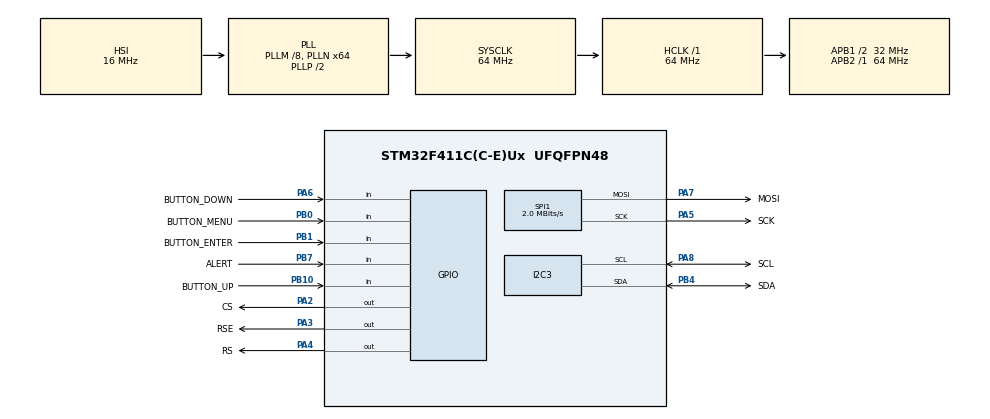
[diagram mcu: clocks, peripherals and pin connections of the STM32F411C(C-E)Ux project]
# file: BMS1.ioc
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Mcu.Family=STM32F4
Mcu.Name=STM32F411C(C-E)Ux
Mcu.Package=UFQFPN48
NVIC.PriorityGroup=NVIC_PRIORITYGROUP_4
PA13.Mode=Serial_Wire
PA13.Signal=SYS_JTMS-SWDIO
PA14.Mode=Serial_Wire
PA14.Signal=SYS_JTCK-SWCLK
PA2.GPIO_Label=CS
PA2.GPIO_Speed=GPIO_SPEED_FREQ_VERY_HIGH
PA2.PinState=GPIO_PIN_SET
PA2.Signal=GPIO_Output
PA3.GPIO_Label=RSE
PA3.GPIO_Speed=GPIO_SPEED_FREQ_VERY_HIGH
PA3.PinState=GPIO_PIN_SET
PA3.Signal=GPIO_Output
PA4.GPIO_Label=RS
PA4.GPIO_Speed=GPIO_SPEED_FREQ_VERY_HIGH
PA4.PinState=GPIO_PIN_SET
PA4.Signal=GPIO_Output
PA5.GPIO_Label=SCK
PA5.Mode=TX_Only_Simplex_Unidirect_Master
PA5.Signal=SPI1_SCK
PA6.GPIO_Label=BUTTON_DOWN
PA6.GPIO_PuPd=GPIO_PULLUP
PA6.Signal=GPIO_Input
PA7.GPIO_Label=MOSI
PA7.Mode=TX_Only_Simplex_Unidirect_Master
PA7.Signal=SPI1_MOSI
PA8.GPIO_Label=SCL
PA8.Mode=I2C
PA8.Signal=I2C3_SCL
PB0.GPIO_Label=BUTTON_MENU
PB0.GPIO_PuPd=GPIO_PULLUP
PB0.Signal=GPIO_Input
PB1.GPIO_Label=BUTTON_ENTER
PB1.GPIO_PuPd=GPIO_PULLUP
PB1.Signal=GPIO_Input
PB10.GPIO_Label=BUTTON_UP
PB10.GPIO_PuPd=GPIO_PULLUP
PB10.Signal=GPIO_Input
PB4.GPIO_Label=SDA
PB4.Mode=I2C
PB4.Signal=I2C3_SDA
PB7.GPIO_Label=ALERT
PB7.Signal=GPIO_Input
PH0\ -\ OSC_IN.Mode=HSE-External-Oscillator
PH0\ -\ OSC_IN.Signal=RCC_OSC_IN
PH1\ -\ OSC_OUT.Mode=HSE-External-Oscillator
PH1\ -\ OSC_OUT.Signal=RCC_OSC_OUT
ProjectManager.HeapSize=0x800
ProjectManager.StackSize=0x800
ProjectManager.TargetToolchain=STM32CubeIDE
RCC.48MHZClocksFreq_Value=32000000
RCC.AHBFreq_Value=64000000
RCC.APB1CLKDivider=RCC_HCLK_DIV2
RCC.APB1Freq_Value=32000000
RCC.APB1TimFreq_Value=64000000
RCC.APB2Freq_Value=64000000
RCC.APB2TimFreq_Value=64000000
RCC.CortexFreq_Value=64000000
RCC.HCLKFreq_Value=64000000
RCC.HSE_VALUE=25000000
RCC.HSI_VALUE=16000000
RCC.LSE_VALUE=32768
RCC.PLLM=8
RCC.PLLN=64
RCC.SYSCLKFreq_VALUE=64000000
RCC.SYSCLKSource=RCC_SYSCLKSOURCE_PLLCLK
RCC.VCOOutputFreq_Value=128000000
SPI1.BaudRatePrescaler=SPI_BAUDRATEPRESCALER_32
SPI1.CLKPhase=SPI_PHASE_2EDGE
SPI1.CLKPolarity=SPI_POLARITY_HIGH
SPI1.CalculateBaudRate=2.0 MBits/s
SPI1.Direction=SPI_DIRECTION_2LINES
SPI1.Mode=SPI_MODE_MASTER
SPI1.VirtualType=VM_MASTER
board=custom

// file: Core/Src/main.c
/* USER CODE BEGIN Header */
/**
 * @file           : main.c
 * @brief          : STM32F411CEU6 communicating with BQ76922 BMS
 * SCREENS
 * LIVE = Voltages, SOC, Current (Dedicated Line), PassQ, Balancing
 * LIVE2 = Pack, LD, Stack voltage, Current, FET state
 * TEMP = PCB temperature + BATTS thermistor
 * FAULTS = Safety flags, UV/OV/OCD/SCD, Alarm word
 * CONTROL = FET enable/off, Shutdown, Reset PassQ, Clear PF
 */

/* USER CODE END Header */
// Includes
#include "main.h"

// Private includes
/* USER CODE BEGIN Includes */
#include <stdbool.h>
#include <stddef.h>
#include <stdio.h>
#include <string.h>
#include "GraphicDisplay.h"
#include "GraphicDisplay_Fonts.h"
#include "bq76922_driver.h"
#include "bms_rtos.h"
#include "FreeRTOS.h"
#include "task.h"
/* USER CODE END Includes */

// Private typedef

// Private define

I2C_HandleTypeDef hi2c3;

SPI_HandleTypeDef hspi1;

/* USER CODE BEGIN PV */
st7565_t    St7565  = {0};
static uint8_t display_framebuffer[128U * 64U / 8U];
static bool display_ok = true;
gd_t        Graphic = {0};

/* UI-owned copies; the battery task owns the actual driver/counter. */
static BmsSnapshot UiSnapshot;
static bool snapshot_received;
static const char *ui_data_message = "WAITING FOR DATA";
static bool command_pending;
static uint32_t pending_id, next_command_id;

static uint8_t bq_ok;

// Screen & Popup definitions
typedef enum {
    SCR_LIVE = 0,
    SCR_PACK,
    SCR_TEMP,
    SCR_FAULTS,
    SCR_CONTROL,
    SCR_COUNT
} Screen_t;

static const char *scr_titles[SCR_COUNT] = {
    "LIVE", "LIVE2", "TEMP", "FAULTS", "CONTROL"
};

static Screen_t  cur_screen   = SCR_LIVE;
static uint8_t   needs_redraw = 1;

static bool      show_charge_msg = false;
static uint32_t  charge_msg_start_tick = 0;
static bool      is_charging = false;

static const char *ctrl_labels[BMS_ACTION_COUNT] = {
    "FET Enable", "All FETs Off", "Shutdown", "Reset PassQ",
    "PF Reset", "OCD Recover", "SCD Recover",
};

static int8_t  ctrl_cursor = 0;
static char    status_msg[22] = "";
/* USER CODE END PV */

void SystemClock_Config(void);
static void MX_GPIO_Init(void);
static void MX_SPI1_Init(void);
static void MX_I2C3_Init(void);

/* USER CODE BEGIN 0 */

void delayUS(uint32_t us)
{
    uint32_t start = DWT->CYCCNT;
    uint32_t ticks = us * (SystemCoreClock / 1000000U);
    while ((DWT->CYCCNT - start) < ticks) {}
}

void    _dsp_a0   (uint8_t s){ HAL_GPIO_WritePin(RS_GPIO_Port, RS_Pin,  (GPIO_PinState)s); }
void    _dsp_cs   (uint8_t s){ HAL_GPIO_WritePin(CS_GPIO_Port, CS_Pin,  (GPIO_PinState)s); }
void    _dsp_reset(uint8_t s){ HAL_GPIO_WritePin(GPIOA,        RSE_Pin, (GPIO_PinState)s); }
uint8_t _dsp_write(uint8_t *d, uint32_t l){ return (uint8_t)HAL_SPI_Transmit(&hspi1, d, (uint16_t)l, 100); }

static uint8_t btn_menu_last  = 1;
static uint8_t btn_enter_last = 1;
static uint8_t btn_up_last    = 1;
static uint8_t btn_down_last  = 1;

static uint8_t Btn(GPIO_TypeDef *port, uint16_t pin, uint8_t *last)
{
    uint8_t now  = (HAL_GPIO_ReadPin(port, pin) == GPIO_PIN_RESET) ? 0u : 1u;
    uint8_t edge = (*last == 1u) && (now == 0u);
    *last = now;
    return edge;
}

/*
 * DRAW FUNCTIONS
*/
static void RefreshDisplay(void)
{
    display_ok = (GD_UpdateScreen(&Graphic) == GD_OK);
    if (!display_ok) ++BmsRtosStats.display_failures;
}

static void Title(const char *text)
{
    GD_FillRectangle(&Graphic, 0, 0, 127, 11, GD_WHITE);
    GD_SetCursor(&Graphic, 2, 2);
    GD_WriteString(&Graphic, (char *)text, Font_7x10, GD_BLACK);
    char idx[8];
    snprintf(idx, sizeof(idx), "%d/%d", (int)cur_screen + 1, SCR_COUNT);
    GD_SetCursor(&Graphic, 100, 2);
    GD_WriteString(&Graphic, idx, Font_7x10, GD_BLACK);
}

/* ── SCR_LIVE ── */
static void Draw_Live(void)
{
    char buf[32];
    GD_Fill(&Graphic, GD_BLACK);
    Title(scr_titles[SCR_LIVE]);

    if (!bq_ok) {
        GD_SetCursor(&Graphic, 10, 28);
        GD_WriteString(&Graphic, (char *)ui_data_message, Font_7x10, GD_WHITE);
        RefreshDisplay();
        return;
    }

    uint16_t c1 = UiSnapshot.telemetry.cell_mv[0];
    uint16_t c2 = UiSnapshot.telemetry.cell_mv[1];
    uint16_t c5 = UiSnapshot.telemetry.cell_mv[2];
    int16_t  ma = UiSnapshot.telemetry.pack_current_ma;

    /* Line 1: C1 and C2 */
    snprintf(buf, sizeof(buf), "1:%d.%03dV 2:%d.%03dV",
             c1 / 1000, c1 % 1000,
             c2 / 1000, c2 % 1000);
    GD_SetCursor(&Graphic, 0, 14);
    GD_WriteString(&Graphic, buf, Font_7x10, GD_WHITE);

    /* Line 2: C5 and High-Res Fractional SOC */
    snprintf(buf, sizeof(buf), "5:%d.%03dV S:%d.%01d%%",
             c5 / 1000, c5 % 1000,
             (int)UiSnapshot.soc_percent,
             (int)(UiSnapshot.soc_percent * 10.0f) % 10);
    GD_SetCursor(&Graphic, 0, 24);
    GD_WriteString(&Graphic, buf, Font_7x10, GD_WHITE);

    /* Line 3: Dedicated Current Line */
    snprintf(buf, sizeof(buf), "I : %dmA", ma);
    GD_SetCursor(&Graphic, 0, 34);
    GD_WriteString(&Graphic, buf, Font_7x10, GD_WHITE);

    /* Line 4: High-Res Coulomb Counter in exact mAh */
    snprintf(buf, sizeof(buf), "Q: %d.%01dmAh",
             (int)UiSnapshot.remaining_mah,
             (int)(UiSnapshot.remaining_mah * 10.0f) % 10);
    GD_SetCursor(&Graphic, 0, 44);
    GD_WriteString(&Graphic, buf, Font_7x10, GD_WHITE);

    /* Line 5: Active Balancing */
    char bal_str[22];
    if (!UiSnapshot.balancing_valid) {
        snprintf(bal_str, sizeof(bal_str), "BAL: pending");
    } else snprintf(bal_str, sizeof(bal_str), "BAL:1:%d 2:%d 5:%d",
             (UiSnapshot.telemetry.cb_active_mask & (1 << 0)) ? 1 : 0,
             (UiSnapshot.telemetry.cb_active_mask & (1 << 1)) ? 1 : 0,
             (UiSnapshot.telemetry.cb_active_mask & (1 << 4)) ? 1 : 0);
    GD_SetCursor(&Graphic, 0, 54);
    GD_WriteString(&Graphic, bal_str, Font_7x10, GD_WHITE);

    RefreshDisplay();
}

/* ── SCR_PACK (LIVE2) ── */
static void Draw_Pack(void)
{
    char buf[22];
    GD_Fill(&Graphic, GD_BLACK);
    Title(scr_titles[SCR_PACK]);

    if (!bq_ok) {
        GD_SetCursor(&Graphic, 10, 28);
        GD_WriteString(&Graphic, (char *)ui_data_message, Font_7x10, GD_WHITE);
        RefreshDisplay();
        return;
    }

    snprintf(buf, sizeof(buf), "PACK: %d.%03dV",
             UiSnapshot.telemetry.pack_mv / 1000, UiSnapshot.telemetry.pack_mv % 1000);
    GD_SetCursor(&Graphic, 0, 14);
    GD_WriteString(&Graphic, buf, Font_7x10, GD_WHITE);

    snprintf(buf, sizeof(buf), "STK : %d.%03dV",
             UiSnapshot.telemetry.stack_mv / 1000, UiSnapshot.telemetry.stack_mv % 1000);
    GD_SetCursor(&Graphic, 0, 24);
    GD_WriteString(&Graphic, buf, Font_7x10, GD_WHITE);

    snprintf(buf, sizeof(buf), "LD  : %d.%03dV",
             UiSnapshot.telemetry.ld_mv / 1000, UiSnapshot.telemetry.ld_mv % 1000);
    GD_SetCursor(&Graphic, 0, 34);
    GD_WriteString(&Graphic, buf, Font_7x10, GD_WHITE);

    int16_t ma = UiSnapshot.telemetry.pack_current_ma;
    snprintf(buf, sizeof(buf), "I   : %dmA", ma);
    GD_SetCursor(&Graphic, 0, 44);
    GD_WriteString(&Graphic, buf, Font_7x10, GD_WHITE);

    snprintf(buf, sizeof(buf), "FET : C:%c  D:%c",
             UiSnapshot.faults.chg_on  ? 'O' : 'X',
             UiSnapshot.faults.dsg_on  ? 'O' : 'X');
    GD_SetCursor(&Graphic, 0, 54);
    GD_WriteString(&Graphic, buf, Font_7x10, GD_WHITE);

    RefreshDisplay();
}

/* ── SCR_TEMP ── */
static void Draw_Temp(void)
{
    char buf[22];
    GD_Fill(&Graphic, GD_BLACK);
    Title(scr_titles[SCR_TEMP]);

    if (!bq_ok) {
        GD_SetCursor(&Graphic, 10, 28);
        GD_WriteString(&Graphic, (char *)ui_data_message, Font_7x10, GD_WHITE);
        RefreshDisplay();
        return;
    }

    int16_t die = UiSnapshot.telemetry.int_temp_dc;
    int16_t ts1 = UiSnapshot.telemetry.ts1_temp_dc;

    snprintf(buf, sizeof(buf), "PCB  : %c%d.%01d C",
             die < 0 ? '-' : ' ',
             (int)(die < 0 ? -die : die) / 10,
             (int)(die < 0 ? -die : die) % 10);
    GD_SetCursor(&Graphic, 0, 20);
    GD_WriteString(&Graphic, buf, Font_7x10, GD_WHITE);

    snprintf(buf, sizeof(buf), "BATTS: %c%d.%01d C",
             ts1 < 0 ? '-' : ' ',
             (int)(ts1 < 0 ? -ts1 : ts1) / 10,
             (int)(ts1 < 0 ? -ts1 : ts1) % 10);
    GD_SetCursor(&Graphic, 0, 38);
    GD_WriteString(&Graphic, buf, Font_7x10, GD_WHITE);

    RefreshDisplay();
}

/* ── SCR_FAULTS ── */
static void Draw_Faults(void)
{
    char buf[22];
    GD_Fill(&Graphic, GD_BLACK);
    Title(scr_titles[SCR_FAULTS]);

    if (!bq_ok) {
        GD_SetCursor(&Graphic, 10, 28);
        GD_WriteString(&Graphic, (char *)ui_data_message, Font_7x10, GD_WHITE);
        RefreshDisplay();
        return;
    }

    snprintf(buf, sizeof(buf), "UV:%c OV:%c",
             UiSnapshot.faults.uv_fault  ? '!' : '-',
             UiSnapshot.faults.ov_fault  ? '!' : '-');
    GD_SetCursor(&Graphic, 0, 14);
    GD_WriteString(&Graphic, buf, Font_7x10, GD_WHITE);

    snprintf(buf, sizeof(buf), "OCD:%c SCD:%c",
             UiSnapshot.faults.ocd_fault ? '!' : '-',
             UiSnapshot.faults.scd_fault ? '!' : '-');
    GD_SetCursor(&Graphic, 0, 26);
    GD_WriteString(&Graphic, buf, Font_7x10, GD_WHITE);

    snprintf(buf, sizeof(buf), "PROT:%s",
             UiSnapshot.faults.protections_triggered ? "ACTIVE" : "OK");
    GD_SetCursor(&Graphic, 0, 38);
    GD_WriteString(&Graphic, buf, Font_7x10, GD_WHITE);

    snprintf(buf, sizeof(buf), "ALM:0x%04X", UiSnapshot.faults.alarm_status);
    GD_SetCursor(&Graphic, 0, 54);
    GD_WriteString(&Graphic, buf, Font_7x10, GD_WHITE);

    RefreshDisplay();
}

/* ── SCR_CONTROL ── */
static void Draw_Control(void)
{
    GD_Fill(&Graphic, GD_BLACK);
    Title(scr_titles[SCR_CONTROL]);

    int start = ctrl_cursor - 1;
    if (start < 0) start = 0;
    if (start > BMS_ACTION_COUNT - 3) start = BMS_ACTION_COUNT - 3;

    for (int i = 0; i < 3; i++) {
        int idx = start + i;
        if (idx >= BMS_ACTION_COUNT) break;
        int16_t y = (int16_t)(14 + i * 14);
        if (idx == ctrl_cursor) {
            GD_FillRectangle(&Graphic, 0, y - 1, 127, y + 11, GD_WHITE);
            GD_SetCursor(&Graphic, 4, y);
            GD_WriteString(&Graphic, (char *)ctrl_labels[idx], Font_7x10, GD_BLACK);
        } else {
            GD_SetCursor(&Graphic, 4, y);
            GD_WriteString(&Graphic, (char *)ctrl_labels[idx], Font_7x10, GD_WHITE);
        }
    }

    GD_SetCursor(&Graphic, 0, 54);
    GD_WriteString(&Graphic, status_msg, Font_7x10, GD_WHITE);

    RefreshDisplay();
}

/* ── Dispatch ── */
static void Redraw(void)
{
    // Hijack the rendering pipeline to show the Charger overlay if active
    if (show_charge_msg) {
        GD_Fill(&Graphic, GD_BLACK);
        // Draw an  outline box
        GD_DrawRectangle(&Graphic, 4, 20, 123, 44, GD_WHITE);
        GD_SetCursor(&Graphic, 12, 28);
        GD_WriteString(&Graphic, "CHARGE DETECTED!", Font_7x10, GD_WHITE);
        RefreshDisplay();
        return;
    }

    switch (cur_screen) {
        case SCR_LIVE:    Draw_Live();    break;
        case SCR_PACK:    Draw_Pack();    break;
        case SCR_TEMP:    Draw_Temp();    break;
        case SCR_FAULTS:  Draw_Faults();  break;
        case SCR_CONTROL: Draw_Control(); break;
        default: break;
    }
}
/* USER CODE END 0 */

/* All display operations, including initialization, run in the UI task. */
static void UiDelay(uint32_t ms)
{
    /* One extra tick guarantees at least ms elapsed at arbitrary tick phase. */
    vTaskDelay(pdMS_TO_TICKS(ms) + 1U);
}

static bool UiDisplayInit(void)
{
  st7565_params_t St7565_Params = {
      .Mode                    = ST7565_MODE_SPI,
      .bUseExternalFrameBuffer = true,
      .u32Heigth               = 64,
      .u32Width                = 128,
      .delayMs                 = UiDelay,
      .spiA0                   = _dsp_a0,
      .spiCs                   = _dsp_cs,
      .spiReset                = _dsp_reset,
      .spiWrite                = _dsp_write,
      .mtxLock                 = NULL,
      .mtxUnlock               = NULL,
  };
  gd_params_t Graphic_Params = {
      .DisplayDriver  = Gd_Driver_ST7565,
      .DisplayHandle  = (void *)(&St7565),
      .u32Height      = 64,
      .u32Width       = 128,
      .mtxLock        = NULL,
      .mtxUnlock      = NULL,
  };

    if (!St7565._intern.bInitialized && ST7565_Init(&St7565, &St7565_Params) != ST7565_OK)
        return false;
    if (ST7565_SetFrameBuffer(&St7565, display_framebuffer) != ST7565_OK) return false;
    return GD_Init(&Graphic, &Graphic_Params) == GD_OK;
}

void BmsUiTask(void *argument)
{
    (void)argument;
    bool display_ready = false, display_attempted = false;
    uint32_t last_display_attempt = 0;
    TickType_t release = xTaskGetTickCount();
    const TickType_t period = pdMS_TO_TICKS(BMS_UI_INTERVAL_MS);
    for (;;) {
        if (BmsTakeSnapshot(&UiSnapshot)) {
            snapshot_received = true;
            needs_redraw = 1;
        }
        uint32_t now = HAL_GetTick();
        uint8_t previous_ok = bq_ok;
        bq_ok = snapshot_received && BmsSnapshotUsable(&UiSnapshot, now);
        if (!snapshot_received) ui_data_message = "WAITING FOR DATA";
        else if (!UiSnapshot.valid) ui_data_message = "BMS DATA ERROR";
        else ui_data_message = "BMS DATA STALE";
        if (previous_ok != bq_ok) needs_redraw = 1;

        BmsCommandResult result;
        while (BmsTakeCommandResult(&result)) {
            if (command_pending && result.id == pending_id) {
                command_pending = false;
                snprintf(status_msg, sizeof(status_msg), "%s: %s",
                         ctrl_labels[result.action], result.status == BQ_OK ? "OK" : "ERR");
                needs_redraw = 1;
            }
        }

        if (bq_ok && UiSnapshot.charging) {
            if (!is_charging) {
                is_charging = true;
                show_charge_msg = true;
                charge_msg_start_tick = now;
                needs_redraw = 1;
            }
        } else {
            is_charging = false;
            if (show_charge_msg) { show_charge_msg = false; needs_redraw = 1; }
        }
        if (show_charge_msg && (uint32_t)(now - charge_msg_start_tick) >= 3000U) {
            show_charge_msg = false;
            needs_redraw = 1;
        }

        uint8_t press_up = Btn(GPIOB, BUTTON_UP_Pin, &btn_up_last);
        uint8_t press_down = Btn(GPIOA, BUTTON_DOWN_Pin, &btn_down_last);
        uint8_t press_enter = Btn(GPIOB, BUTTON_ENTER_Pin, &btn_enter_last);
        uint8_t press_menu = Btn(GPIOB, BUTTON_MENU_Pin, &btn_menu_last);
        if (press_up || press_down || press_enter || press_menu) {
            show_charge_msg = false;
            needs_redraw = 1;
            if (press_up) {
                if (cur_screen == SCR_CONTROL) {
                    if (--ctrl_cursor < 0) ctrl_cursor = BMS_ACTION_COUNT - 1;
                } else cur_screen = (Screen_t)(cur_screen == 0 ? SCR_COUNT - 1 : cur_screen - 1);
                if (!command_pending) status_msg[0] = '\0';
            }
            if (press_down) {
                if (cur_screen == SCR_CONTROL) ctrl_cursor = (ctrl_cursor + 1) % BMS_ACTION_COUNT;
                else cur_screen = (Screen_t)((cur_screen + 1) % SCR_COUNT);
                if (!command_pending) status_msg[0] = '\0';
            }
            if (press_menu) {
                cur_screen = SCR_LIVE;
                if (!command_pending) status_msg[0] = '\0';
            }
            if (press_enter && cur_screen == SCR_CONTROL) {
                if (command_pending) {
                    snprintf(status_msg, sizeof(status_msg), "BUSY: pending");
                } else {
                    uint32_t id = ++next_command_id;
                    if (BmsSubmitCommand((BmsAction)ctrl_cursor, id)) {
                        pending_id = id;
                        command_pending = true;
                        snprintf(status_msg, sizeof(status_msg), "PENDING: %.9s", ctrl_labels[ctrl_cursor]);
                    } else snprintf(status_msg, sizeof(status_msg), "QUEUE FULL");
                }
            }
        }

        /* Failed LCD initialization never prevents battery monitoring. */
        if (!display_ready && (!display_attempted || (uint32_t)(now - last_display_attempt) >= 1000U)) {
            display_attempted = true;
            last_display_attempt = now;
            display_ready = UiDisplayInit();
            needs_redraw = 1;
            if (!display_ready) ++BmsRtosStats.display_failures;
        }
        if (display_ready && needs_redraw) {
            Redraw();
            needs_redraw = display_ok ? 0 : 1;
        }
        BmsRtosStats.ui_stack_free_words = uxTaskGetStackHighWaterMark(NULL);
        if ((TickType_t)(xTaskGetTickCount() - release) >= period) {
            ++BmsRtosStats.ui_deadline_misses;
            release = xTaskGetTickCount();
        }
        vTaskDelayUntil(&release, period);
    }
}

int main(void)
{
    if (HAL_Init() != HAL_OK) Error_Handler();
    SystemClock_Config();
    CoreDebug->DEMCR |= CoreDebug_DEMCR_TRCENA_Msk;
    DWT->CYCCNT = 0;
    DWT->CTRL |= DWT_CTRL_CYCCNTENA_Msk;
    MX_GPIO_Init();
    MX_SPI1_Init();
    MX_I2C3_Init();
    BmsRtosStart();
    Error_Handler();
}

void SystemClock_Config(void)
{
  RCC_OscInitTypeDef RCC_OscInitStruct = {0};
  RCC_ClkInitTypeDef RCC_ClkInitStruct = {0};

  /** Configure the main internal regulator output voltage
  */
  __HAL_RCC_PWR_CLK_ENABLE();
  __HAL_PWR_VOLTAGESCALING_CONFIG(PWR_REGULATOR_VOLTAGE_SCALE1);

  /** Initializes the RCC Oscillators according to the specified parameters
  * in the RCC_OscInitTypeDef structure.
  */
  RCC_OscInitStruct.OscillatorType = RCC_OSCILLATORTYPE_HSI;
  RCC_OscInitStruct.HSIState = RCC_HSI_ON;
  RCC_OscInitStruct.HSICalibrationValue = RCC_HSICALIBRATION_DEFAULT;
  RCC_OscInitStruct.PLL.PLLState = RCC_PLL_ON;
  RCC_OscInitStruct.PLL.PLLSource = RCC_PLLSOURCE_HSI;
  RCC_OscInitStruct.PLL.PLLM = 8;
  RCC_OscInitStruct.PLL.PLLN = 64;
  RCC_OscInitStruct.PLL.PLLP = RCC_PLLP_DIV2;
  RCC_OscInitStruct.PLL.PLLQ = 4;
  if (HAL_RCC_OscConfig(&RCC_OscInitStruct) != HAL_OK)
  {
    Error_Handler();
  }

  /** Initializes the CPU, AHB and APB buses clocks
  */
  RCC_ClkInitStruct.ClockType = RCC_CLOCKTYPE_HCLK|RCC_CLOCKTYPE_SYSCLK
                              |RCC_CLOCKTYPE_PCLK1|RCC_CLOCKTYPE_PCLK2;
  RCC_ClkInitStruct.SYSCLKSource = RCC_SYSCLKSOURCE_PLLCLK;
  RCC_ClkInitStruct.AHBCLKDivider = RCC_SYSCLK_DIV1;
  RCC_ClkInitStruct.APB1CLKDivider = RCC_HCLK_DIV2;
  RCC_ClkInitStruct.APB2CLKDivider = RCC_HCLK_DIV1;

  if (HAL_RCC_ClockConfig(&RCC_ClkInitStruct, FLASH_LATENCY_0) != HAL_OK)
  {
    Error_Handler();
  }
}

static void MX_I2C3_Init(void)
{

  hi2c3.Instance = I2C3;
  hi2c3.Init.ClockSpeed = 100000;
  hi2c3.Init.DutyCycle = I2C_DUTYCYCLE_2;
  hi2c3.Init.OwnAddress1 = 0;
  hi2c3.Init.AddressingMode = I2C_ADDRESSINGMODE_7BIT;
  hi2c3.Init.DualAddressMode = I2C_DUALADDRESS_DISABLE;
  hi2c3.Init.OwnAddress2 = 0;
  hi2c3.Init.GeneralCallMode = I2C_GENERALCALL_DISABLE;
  hi2c3.Init.NoStretchMode = I2C_NOSTRETCH_DISABLE;
  if (HAL_I2C_Init(&hi2c3) != HAL_OK)
  {
    Error_Handler();
  }

}

static void MX_SPI1_Init(void)
{

  /* SPI1 parameter configuration*/
  hspi1.Instance = SPI1;
  hspi1.Init.Mode = SPI_MODE_MASTER;
  hspi1.Init.Direction = SPI_DIRECTION_2LINES;
  hspi1.Init.DataSize = SPI_DATASIZE_8BIT;
  hspi1.Init.CLKPolarity = SPI_POLARITY_HIGH;
  hspi1.Init.CLKPhase = SPI_PHASE_2EDGE;
  hspi1.Init.NSS = SPI_NSS_SOFT;
  hspi1.Init.BaudRatePrescaler = SPI_BAUDRATEPRESCALER_32;
  hspi1.Init.FirstBit = SPI_FIRSTBIT_MSB;
  hspi1.Init.TIMode = SPI_TIMODE_DISABLE;
  hspi1.Init.CRCCalculation = SPI_CRCCALCULATION_DISABLE;
  hspi1.Init.CRCPolynomial = 10;
  if (HAL_SPI_Init(&hspi1) != HAL_OK)
  {
    Error_Handler();
  }

}

static void MX_GPIO_Init(void)
{
  GPIO_InitTypeDef GPIO_InitStruct = {0};

  /* GPIO Ports Clock Enable */
  __HAL_RCC_GPIOH_CLK_ENABLE();
  __HAL_RCC_GPIOA_CLK_ENABLE();
  __HAL_RCC_GPIOB_CLK_ENABLE();

  /*Configure GPIO pin Output Level */
  HAL_GPIO_WritePin(GPIOA, CS_Pin|RSE_Pin|RS_Pin, GPIO_PIN_SET);

  /*Configure GPIO pins : CS_Pin RSE_Pin RS_Pin */
  GPIO_InitStruct.Pin = CS_Pin|RSE_Pin|RS_Pin;
  GPIO_InitStruct.Mode = GPIO_MODE_OUTPUT_PP;
  GPIO_InitStruct.Pull = GPIO_NOPULL;
  GPIO_InitStruct.Speed = GPIO_SPEED_FREQ_VERY_HIGH;
  HAL_GPIO_Init(GPIOA, &GPIO_InitStruct);

  /*Configure GPIO pin : BUTTON_DOWN_Pin */
  GPIO_InitStruct.Pin = BUTTON_DOWN_Pin;
  GPIO_InitStruct.Mode = GPIO_MODE_INPUT;
  GPIO_InitStruct.Pull = GPIO_PULLUP;
  HAL_GPIO_Init(BUTTON_DOWN_GPIO_Port, &GPIO_InitStruct);

  /*Configure GPIO pins : BUTTON_MENU_Pin BUTTON_ENTER_Pin BUTTON_UP_Pin */
  GPIO_InitStruct.Pin = BUTTON_MENU_Pin|BUTTON_ENTER_Pin|BUTTON_UP_Pin;
  GPIO_InitStruct.Mode = GPIO_MODE_INPUT;
  GPIO_InitStruct.Pull = GPIO_PULLUP;
  HAL_GPIO_Init(GPIOB, &GPIO_InitStruct);

  /*Configure GPIO pin : ALERT_Pin */
  GPIO_InitStruct.Pin = ALERT_Pin;
  GPIO_InitStruct.Mode = GPIO_MODE_INPUT;
  GPIO_InitStruct.Pull = GPIO_NOPULL;
  HAL_GPIO_Init(ALERT_GPIO_Port, &GPIO_InitStruct);

}

void Error_Handler(void)
{
  __disable_irq();
  while (1)
  {
  }
}
